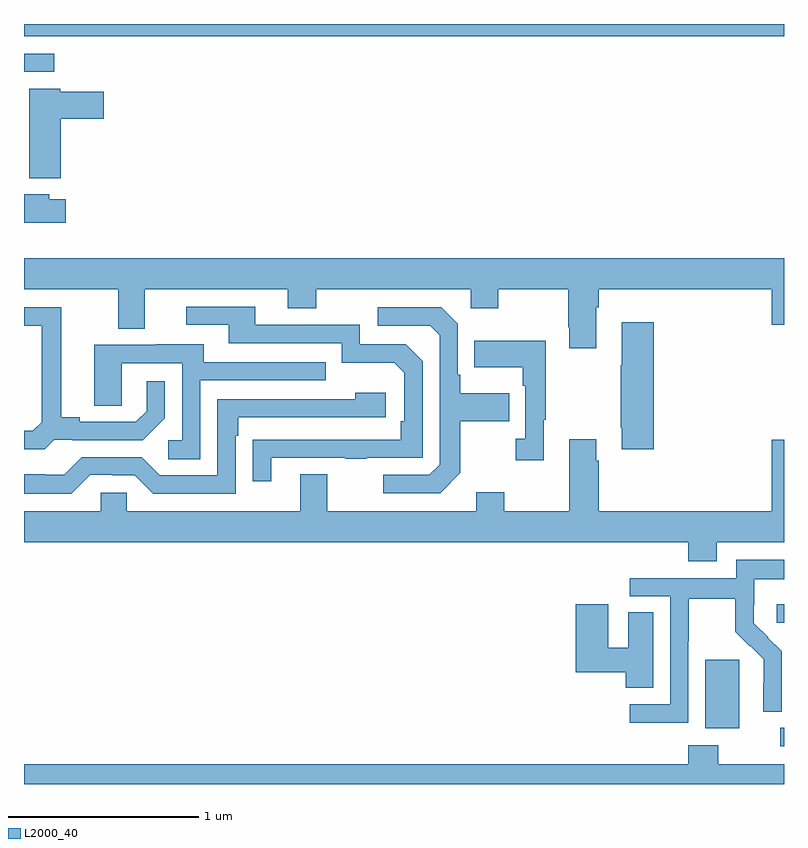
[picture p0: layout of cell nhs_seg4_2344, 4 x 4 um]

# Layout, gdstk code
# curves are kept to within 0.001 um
import gdstk
lib = gdstk.Library(unit=1e-6, precision=1e-09)
def R(c, l, rs):  # rectangles x0, y0, x1, y1
    for r in rs: c.add(gdstk.rectangle(r[:2], r[2:], *l))
def P(c, l, *ps):  # polygons
    for p in ps: c.add(gdstk.Polygon(p, *l))
L2000_40 = (2000, 40)

nhs_seg4_2344 = lib.new_cell('nhs_seg4_2344')
R(nhs_seg4_2344, L2000_40, [(236.979,777.099,237,777.195), (236.585,777.194,236.764,777.555), (236.961,777.75,237,777.847), (233,780.648,233.158,780.744), (233,780.836,237,780.9)])
P(nhs_seg4_2344, L2000_40, [(233.194,780.401),(233.419,780.401),(233.419,780.543),(233.19,780.543),(233.19,780.559),(233.027,780.559),(233.027,780.089),(233.194,780.089)],
  [(233.221,779.977),(233.133,779.977),(233.133,780.004),(233,780.004),(233,779.855),(233.221,779.855)],
  [(236.011,779.408),(236.024,779.408),(236.024,779.504),(236.936,779.504),(236.936,779.316),(237,779.316),(237,779.668),(233,779.668),(233,779.504),(233.495,779.504),(233.495,779.296),(233.635,779.296),(233.635,779.504),(234.389,779.504),(234.389,779.405),(234.537,779.405),(234.537,779.504),(235.35,779.504),(235.35,779.405),(235.497,779.405),(235.497,779.504),(235.864,779.504),(235.864,779.305),(235.871,779.305),(235.871,779.193),(236.011,779.193)],
  [(234.301,778.617),(234.691,778.617),(234.691,778.612),(234.803,778.612),(234.803,778.617),(235.098,778.617),(235.098,779.124),(235.008,779.214),(234.768,779.214),(234.768,779.316),(234.217,779.316),(234.217,779.412),(233.853,779.412),(233.853,779.316),(234.077,779.316),(234.077,779.22),(234.672,779.22),(234.672,779.117),(234.949,779.117),(235.002,779.064),(235.002,778.81),(234.982,778.81),(234.982,778.713),(234.205,778.712),(234.205,778.494),(234.301,778.494)],
  [(235.297,778.537),(235.297,778.81),(235.553,778.81),(235.553,778.957),(235.297,778.957),(235.297,779.053),(235.284,779.053),(235.284,779.322),(235.197,779.409),(234.861,779.409),(234.861,779.313),(235.137,779.313),(235.188,779.262),(235.188,778.581),(235.134,778.527),(234.891,778.527),(234.891,778.431),(235.191,778.431)],
  [(233.16,778.713),(233.254,778.713),(233.254,778.71),(233.626,778.71),(233.742,778.826),(233.742,779.02),(233.645,779.02),(233.645,778.863),(233.588,778.806),(233.293,778.806),(233.293,778.829),(233.197,778.829),(233.197,779.409),(233,779.409),(233,779.313),(233.093,779.313),(233.093,778.805),(233.046,778.758),(233,778.758),(233,778.661),(233.108,778.661)],
  [(236.315,779.329),(236.147,779.329),(236.147,779.105),(236.14,779.105),(236.14,778.774),(236.147,778.774),(236.147,778.662),(236.315,778.662)],
  [(235.735,778.817),(235.747,778.817),(235.747,779.233),(235.369,779.233),(235.369,779.093),(235.626,779.093),(235.626,778.997),(235.638,778.997),(235.638,778.718),(235.587,778.718),(235.587,778.605),(235.735,778.605)],
  [(233.928,779.025),(234.587,779.025),(234.587,779.121),(233.947,779.121),(233.947,779.215),(233.693,779.215),(233.693,779.211),(233.369,779.211),(233.369,778.891),(233.514,778.891),(233.514,779.115),(233.832,779.115),(233.832,778.71),(233.76,778.71),(233.76,778.609),(233.928,778.609)],
  [(233.349,778.527),(233.465,778.527),(233.465,778.524),(233.583,778.524),(233.679,778.428),(234.114,778.428),(234.114,778.733),(234.127,778.733),(234.127,778.83),(234.904,778.83),(234.904,778.96),(234.743,778.96),(234.743,778.926),(234.018,778.926),(234.018,778.524),(233.715,778.524),(233.619,778.62),(233.304,778.62),(233.211,778.527),(233.111,778.527),(233.111,778.531),(233,778.531),(233,778.427),(233.249,778.427)],
  [(233.403,778.434),(233.403,778.336),(233,778.336),(233,778.172),(236.495,778.172),(236.495,778.073),(236.647,778.073),(236.647,778.172),(237,778.172),(237,778.711),(236.936,778.711),(236.936,778.336),(236.024,778.336),(236.024,778.601),(236.011,778.601),(236.011,778.714),(235.871,778.714),(235.871,778.336),(235.527,778.336),(235.527,778.435),(235.379,778.435),(235.379,778.336),(234.595,778.336),(234.595,778.531),(234.455,778.531),(234.455,778.336),(233.541,778.336),(233.541,778.434)],
  [(236.496,777.652),(236.499,777.652),(236.499,777.876),(236.743,777.876),(236.743,777.701),(236.82,777.624),(236.823,777.627),(236.894,777.557),(236.894,777.434),(236.892,777.434),(236.892,777.28),(236.988,777.28),(236.988,777.598),(236.842,777.746),(236.842,777.843),(236.844,777.843),(236.844,777.977),(237,777.977),(237,778.081),(236.748,778.081),(236.748,777.984),(236.187,777.984),(236.187,777.888),(236.4,777.888),(236.4,777.321),(236.187,777.321),(236.187,777.223),(236.496,777.223)],
  [(236.311,777.803),(236.18,777.803),(236.18,777.616),(236.074,777.616),(236.074,777.847),(235.904,777.847),(235.904,777.487),(236.168,777.487),(236.168,777.406),(236.311,777.406)],
  [(237,777.004),(236.655,777.004),(236.655,777.103),(236.495,777.103),(236.495,777.004),(233,777.004),(233,776.9),(237,776.9)])

lib.write_gds('nhs_seg4_2344.gds')
